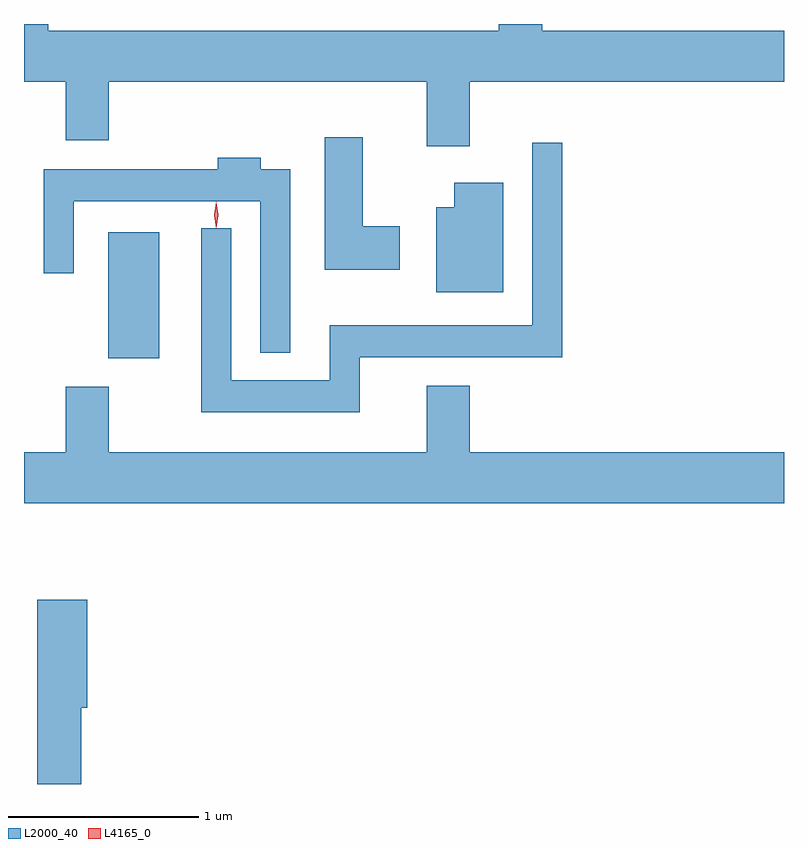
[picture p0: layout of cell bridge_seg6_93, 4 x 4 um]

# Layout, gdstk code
import gdstk
lib = gdstk.Library(unit=1e-6, precision=1e-09)
def R(c, l, rs):  # rectangles x0, y0, x1, y1
    for r in rs: c.add(gdstk.rectangle(r[:2], r[2:], *l))
def P(c, l, *ps):  # polygons
    for p in ps: c.add(gdstk.Polygon(p, *l))
L2000_40 = (2000, 40)
L4165_0 = (4165, 0)

bridge_seg6_93 = lib.new_cell('bridge_seg6_93')
R(bridge_seg6_93, L2000_40, [(1119.176,1666.241,1119.444,1666.904)])
P(bridge_seg6_93, L2000_40, [(1121.079,1667.696),(1122.732,1667.696),(1122.732,1667.964),(1121.459,1667.964),(1121.459,1667.999),(1121.231,1667.999),(1121.231,1667.964),(1118.859,1667.964),(1118.859,1667.999),(1118.732,1667.999),(1118.732,1667.696),(1118.951,1667.696),(1118.951,1667.386),(1119.179,1667.386),(1119.179,1667.696),(1120.851,1667.696),(1120.851,1667.356),(1121.079,1667.356)],
  [(1120.709,1666.934),(1120.514,1666.934),(1120.514,1667.404),(1120.316,1667.404),(1120.316,1666.706),(1120.709,1666.706)],
  [(1120.499,1666.246),(1121.564,1666.246),(1121.564,1667.373),(1121.406,1667.373),(1121.406,1666.414),(1120.341,1666.414),(1120.341,1666.124),(1119.824,1666.124),(1119.824,1666.923),(1119.666,1666.923),(1119.666,1665.956),(1120.499,1665.956)],
  [(1120.134,1667.234),(1119.979,1667.234),(1119.979,1667.294),(1119.751,1667.294),(1119.751,1667.234),(1118.836,1667.234),(1118.836,1666.688),(1118.994,1666.688),(1118.994,1667.066),(1119.976,1667.066),(1119.976,1666.268),(1120.134,1666.268)],
  [(1121.254,1667.164),(1120.996,1667.164),(1120.996,1667.034),(1120.901,1667.034),(1120.901,1666.586),(1121.254,1666.586)],
  [(1122.732,1665.744),(1121.079,1665.744),(1121.079,1666.094),(1120.851,1666.094),(1120.851,1665.744),(1119.179,1665.744),(1119.179,1666.089),(1118.951,1666.089),(1118.951,1665.744),(1118.732,1665.744),(1118.732,1665.476),(1122.732,1665.476)],
  [(1119.034,1664.401),(1119.064,1664.401),(1119.064,1664.969),(1118.801,1664.969),(1118.801,1663.999),(1119.034,1663.999)])
P(bridge_seg6_93, L4165_0, [(1119.744,1666.924),(1119.744,1666.924),(1119.734,1666.993),(1119.744,1667.062),(1119.744,1667.063),(1119.745,1667.062),(1119.754,1666.993),(1119.745,1666.924)],
  [(1119.744,1666.927),(1119.744,1666.927),(1119.734,1666.994),(1119.743,1667.06),(1119.744,1667.06),(1119.744,1667.06),(1119.754,1666.994),(1119.744,1666.927)])

lib.write_gds('bridge_seg6_93.gds')
